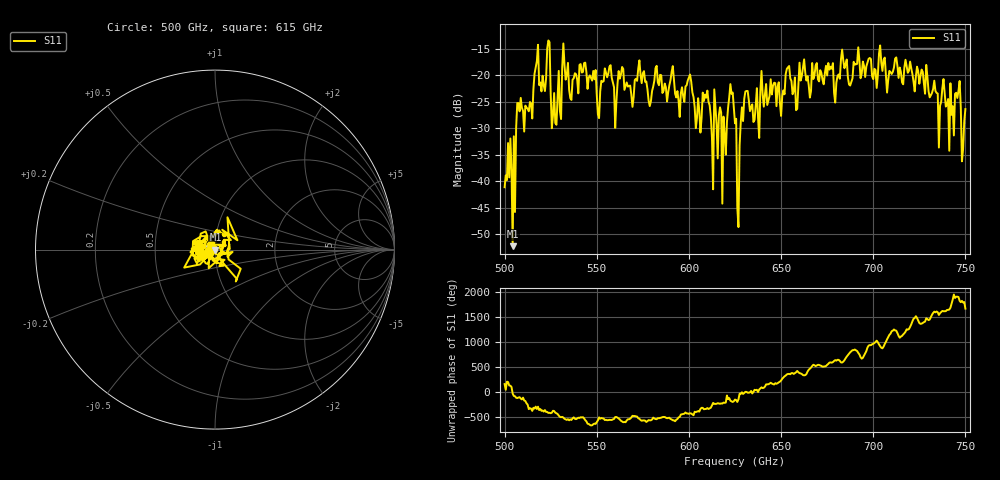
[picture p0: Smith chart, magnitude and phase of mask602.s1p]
!Created with skrf (http://scikit-rf.org).
# GHz S MA R 50.0
!freq magS11 angS11
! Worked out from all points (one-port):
!   401 points, 500 GHz to 750 GHz, reference 50 ohm
!   lowest |S11| = -52.2 dB at 504.4 GHz (marker M1), VSWR 1.00, Z = 50.2 - j0.117 ohm
!   |S11| at or under -10 dB: start of sweep to end of sweep
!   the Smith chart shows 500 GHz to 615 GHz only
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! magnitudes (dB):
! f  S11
! 500 GHz  -41.1
! 504.4 GHz  -52.2
! 507.5 GHz  -25.3
! 513.8 GHz  -25.1
! 516.9 GHz  -18.6
! 520.6 GHz  -20.1
! 523.8 GHz  -13.5
! 526.9 GHz  -23.4
! 531.2 GHz  -18.6
! 542.5 GHz  -19.4
! 551.2 GHz  -28.1
! 562.5 GHz  -20.7
! 593.8 GHz  -23.0
! 600 GHz  -20.4
! 605 GHz  -24.4
! 608.8 GHz  -23.7
! 619.4 GHz  -31.1
! 623.1 GHz  -23.5
! 625 GHz  -29.1
! 626.9 GHz  -48.6
! 631.2 GHz  -23.0
! 636.9 GHz  -22.5
! 656.2 GHz  -23.6
! 680 GHz  -21.4
! 683.8 GHz  -17.2
! 687.5 GHz  -22.0
! 718.8 GHz  -19.6
! 750 GHz  -26.4
